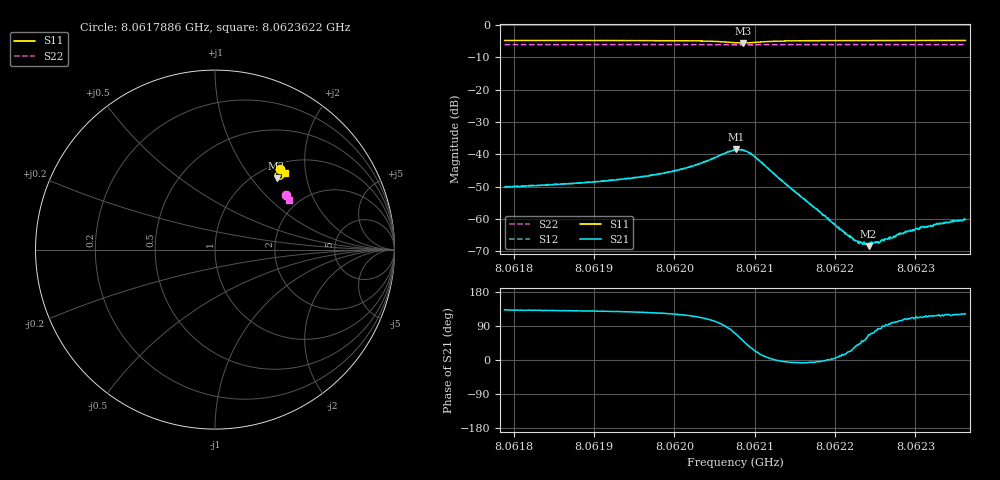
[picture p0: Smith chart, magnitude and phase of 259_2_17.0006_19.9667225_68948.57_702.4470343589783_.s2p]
#  HZ  S  RI  R  50.00
! Rohde & Schwarz Vector Network Analyzer
! Rohde-Schwarz,ZNB20-2Port,1311601062101988,3.16
! Created: UTC 3/20/2024, 11:03:42 PM
! freq[Hz]  re:S11  im:S11  re:S21  im:S21  re:S12  im:S12  re:S22  im:S22
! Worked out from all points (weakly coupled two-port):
!   401 points, 8.0617886 GHz to 8.0623622 GHz, reference 50 ohm
!   highest |S21| = -38.51 dB at 8.0620768 GHz (marker M1); lowest = -68.4 dB at 8.0622417 GHz (marker M2)
!   lowest |S11| = -5.6 dB at 8.0620854 GHz (marker M3), VSWR 3.21, Z = 61.3 + j67.4 ohm
!   |S11| at or under -10 dB: nowhere
!   |S22| runs from -6.1 to -6.1 dB; largest |S21 - S12| = 0.00086
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8.06178858e9  0.3633 0.4467  -0.00209 0.00229  -0.00197 0.00247  0.3954 0.3022
8.06188466e9  0.3702 0.4406  -0.00232 0.00278  -0.0022 0.0029  0.3989 0.2972
8.06194202e9  0.375 0.4356  -0.00254 0.00339  -0.00237 0.00355  0.4007 0.2944
8.06198073e9  0.3785 0.4307  -0.00274 0.0041  -0.00256 0.00432  0.4022 0.2922
8.06202232e9  0.3825 0.421  -0.00285 0.00589  -0.0025 0.00614  0.4036 0.2896
8.06207538e9  0.3586 0.3918  0.00389 0.011  0.00459 0.0109  0.4038 0.2865
8.06207681e9  0.3562 0.392  0.00444 0.011  0.00509 0.0106  0.4039 0.2864
8.06208541e9  0.3428 0.3983  0.00745 0.00896  0.00781 0.00852  0.4036 0.2864
8.06209258e9  0.3362 0.4089  0.00851 0.00643  0.00889 0.00585  0.4035 0.2868
8.06209975e9  0.3357 0.4197  0.00831 0.00376  0.00864 0.0033  0.4041 0.2868
8.0621313e9  0.3535 0.4387  0.00412 -0.000172  0.00415 -0.000434  0.4062 0.286
8.06217145e9  0.367 0.4386  0.00159 -0.000183  0.00156 -0.000297  0.4079 0.2839
8.062203e9  0.3726 0.4364  0.000735 9.38e-05  0.000781 2.35e-05  0.4092 0.2821
8.06222308e9  0.3753 0.435  0.000416 0.000245  0.00041 0.000224  0.4098 0.2811
8.06223168e9  0.3763 0.4343  0.000323 0.000304  0.000362 0.000275  0.4104 0.2806
8.06223598e9  0.3768 0.434  0.000274 0.000348  0.000275 0.000305  0.4104 0.2804
8.06224172e9  0.3774 0.4337  0.00015 0.000348  0.000223 0.000344  0.4106 0.28
8.06226753e9  0.38 0.4321  -5.43e-05 0.00052  -1.61e-05 0.00048  0.4115 0.2788
8.062279e9  0.381 0.4313  -0.000129 0.000564  -0.000116 0.000555  0.4118 0.2782
8.06230768e9  0.3833 0.4297  -0.000287 0.000699  -0.000266 0.00068  0.413 0.2766
8.06234496e9  0.386 0.4276  -0.000409 0.000802  -0.000395 0.000844  0.4142 0.2747
8.06236217e9  0.3874 0.4265  -0.00052 0.000833  -0.000488 0.000867  0.4147 0.2739
